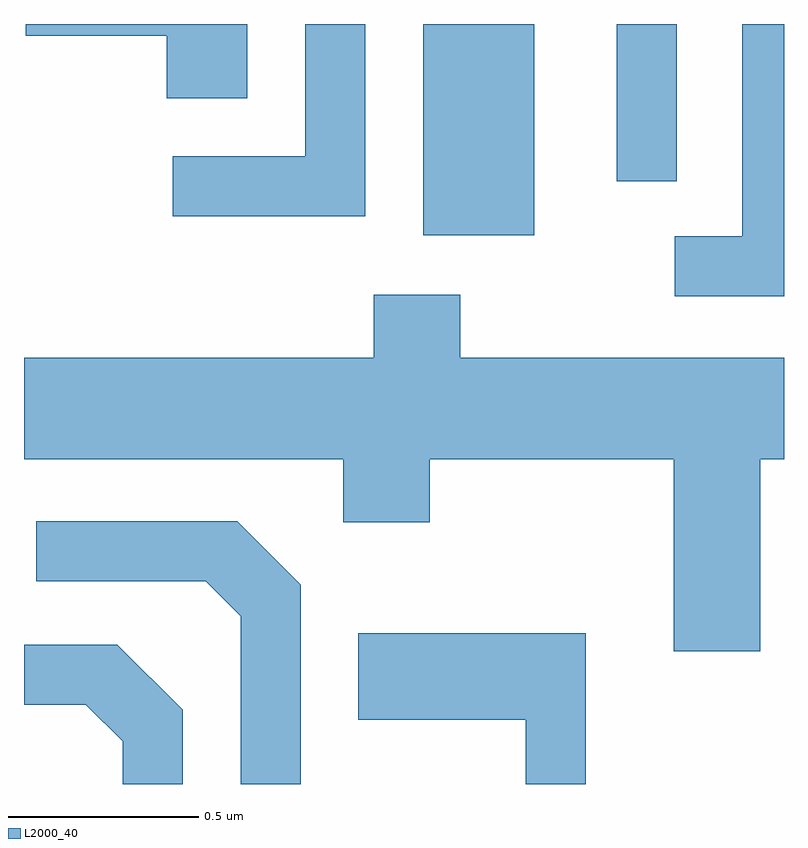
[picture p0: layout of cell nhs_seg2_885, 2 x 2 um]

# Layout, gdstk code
import gdstk
lib = gdstk.Library(unit=1e-6, precision=1e-09)
def R(c, l, rs):  # rectangles x0, y0, x1, y1
    for r in rs: c.add(gdstk.rectangle(r[:2], r[2:], *l))
def P(c, l, *ps):  # polygons
    for p in ps: c.add(gdstk.Polygon(p, *l))
L2000_40 = (2000, 40)

nhs_seg2_885 = lib.new_cell('nhs_seg2_885')
R(nhs_seg2_885, L2000_40, [(192.661,1042.246,192.954,1042.802), (193.171,1042.388,193.329,1042.802)])
P(nhs_seg2_885, L2000_40, [(192.509,1042.802),(192.351,1042.802),(192.351,1042.454),(192.003,1042.454),(192.003,1042.296),(192.509,1042.296)],
  [(193.611,1042.802),(193.501,1042.802),(193.501,1042.244),(193.323,1042.244),(193.323,1042.086),(193.611,1042.086)],
  [(192.199,1042.802),(191.616,1042.802),(191.616,1042.771),(191.986,1042.771),(191.986,1042.606),(192.199,1042.606)],
  [(193.549,1041.656),(193.611,1041.656),(193.611,1041.924),(192.759,1041.924),(192.759,1042.089),(192.531,1042.089),(192.531,1041.924),(191.611,1041.924),(191.611,1041.656),(192.451,1041.656),(192.451,1041.491),(192.679,1041.491),(192.679,1041.656),(193.321,1041.656),(193.321,1041.151),(193.549,1041.151)],
  [(192.339,1041.327),(192.172,1041.494),(191.643,1041.494),(191.643,1041.336),(192.089,1041.336),(192.181,1041.244),(192.181,1040.802),(192.339,1040.802)],
  [(193.089,1041.199),(192.491,1041.199),(192.491,1040.971),(192.931,1040.971),(192.931,1040.802),(193.089,1040.802)],
  [(192.029,1040.997),(191.857,1041.169),(191.611,1041.169),(191.611,1041.011),(191.774,1041.011),(191.871,1040.914),(191.871,1040.802),(192.029,1040.802)])

lib.write_gds('nhs_seg2_885.gds')
